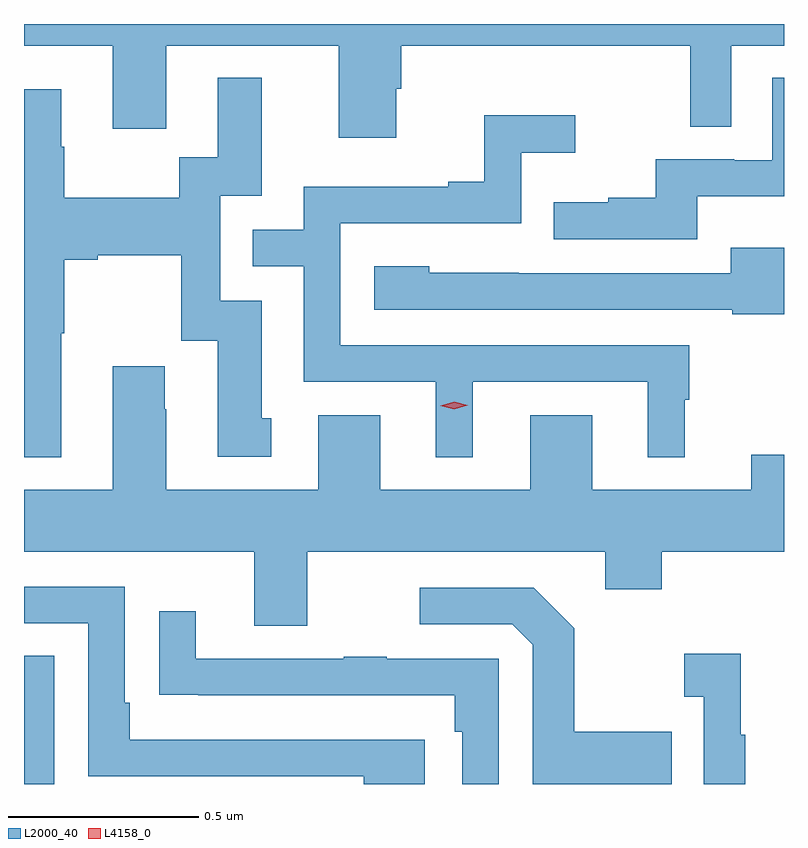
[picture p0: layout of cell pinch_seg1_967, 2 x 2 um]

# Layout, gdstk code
import gdstk
lib = gdstk.Library(unit=1e-6, precision=1e-09)
def R(c, l, rs):  # rectangles x0, y0, x1, y1
    for r in rs: c.add(gdstk.rectangle(r[:2], r[2:], *l))
def P(c, l, *ps):  # polygons
    for p in ps: c.add(gdstk.Polygon(p, *l))
L2000_40 = (2000, 40)
L4158_0 = (4158, 0)

pinch_seg1_967 = lib.new_cell('pinch_seg1_967')
R(pinch_seg1_967, L2000_40, [(174.353,537.801,174.432,538.139)])
P(pinch_seg1_967, L2000_40, [(175.333,539.631),(175.346,539.631),(175.346,539.744),(176.106,539.744),(176.106,539.53),(176.214,539.53),(176.214,539.744),(176.353,539.744),(176.353,539.801),(174.353,539.801),(174.353,539.744),(174.587,539.744),(174.587,539.526),(174.727,539.526),(174.727,539.744),(175.181,539.744),(175.181,539.502),(175.333,539.502)],
  [(174.451,538.987),(174.459,538.987),(174.459,539.18),(174.547,539.18),(174.547,539.192),(174.767,539.192),(174.767,538.968),(174.863,538.968),(174.863,538.662),(175.003,538.662),(175.003,538.764),(174.979,538.764),(174.979,539.073),(174.87,539.073),(174.87,539.349),(174.979,539.349),(174.979,539.659),(174.863,539.659),(174.863,539.45),(174.762,539.45),(174.762,539.344),(174.459,539.344),(174.459,539.478),(174.451,539.478),(174.451,539.629),(174.353,539.629),(174.353,538.661),(174.451,538.661)],
  [(176.125,539.348),(176.353,539.348),(176.353,539.659),(176.322,539.659),(176.322,539.442),(176.222,539.442),(176.222,539.445),(176.015,539.445),(176.015,539.344),(175.891,539.344),(175.891,539.332),(175.747,539.332),(175.747,539.235),(176.125,539.235)],
  [(175.534,538.86),(175.994,538.86),(175.994,538.661),(176.092,538.661),(176.092,538.812),(176.104,538.812),(176.104,538.956),(175.185,538.956),(175.185,539.277),(175.662,539.277),(175.662,539.462),(175.804,539.462),(175.804,539.561),(175.564,539.561),(175.564,539.386),(175.469,539.386),(175.469,539.373),(175.089,539.373),(175.089,539.259),(174.955,539.259),(174.955,539.163),(175.089,539.163),(175.089,538.86),(175.436,538.86),(175.436,538.661),(175.534,538.661)],
  [(176.353,539.212),(176.213,539.212),(176.213,539.145),(175.655,539.145),(175.655,539.146),(175.419,539.146),(175.419,539.164),(175.275,539.164),(175.275,539.049),(176.217,539.049),(176.217,539.037),(176.353,539.037)],
  [(175.099,538.412),(175.883,538.412),(175.883,538.313),(176.031,538.313),(176.031,538.412),(176.353,538.412),(176.353,538.667),(176.267,538.667),(176.267,538.576),(175.849,538.576),(175.849,538.771),(175.685,538.771),(175.685,538.576),(175.291,538.576),(175.291,538.771),(175.127,538.771),(175.127,538.576),(174.727,538.576),(174.727,538.787),(174.724,538.787),(174.724,538.9),(174.587,538.9),(174.587,538.576),(174.353,538.576),(174.353,538.412),(174.959,538.412),(174.959,538.218),(175.099,538.218)],
  [(175.408,537.918),(174.631,537.918),(174.631,538.015),(174.618,538.015),(174.618,538.32),(174.353,538.32),(174.353,538.224),(174.522,538.224),(174.522,537.822),(175.247,537.822),(175.247,537.801),(175.408,537.801)],
  [(176.057,537.939),(175.801,537.939),(175.801,538.211),(175.695,538.317),(175.395,538.317),(175.395,538.221),(175.638,538.221),(175.692,538.167),(175.692,537.801),(176.057,537.801)],
  [(175.602,538.131),(175.307,538.131),(175.307,538.136),(175.195,538.136),(175.195,538.131),(174.805,538.131),(174.805,538.255),(174.709,538.255),(174.709,538.036),(174.811,538.036),(174.811,538.035),(175.486,538.035),(175.486,537.938),(175.506,537.938),(175.506,537.801),(175.602,537.801)],
  [(176.251,537.931),(176.239,537.931),(176.239,538.144),(176.091,538.144),(176.091,538.031),(176.142,538.031),(176.142,537.801),(176.251,537.801)])
P(pinch_seg1_967, L4158_0, [(175.485,538.787),(175.449,538.796),(175.449,538.796),(175.449,538.796),(175.485,538.807),(175.521,538.798),(175.521,538.798),(175.521,538.798)])

lib.write_gds('pinch_seg1_967.gds')
